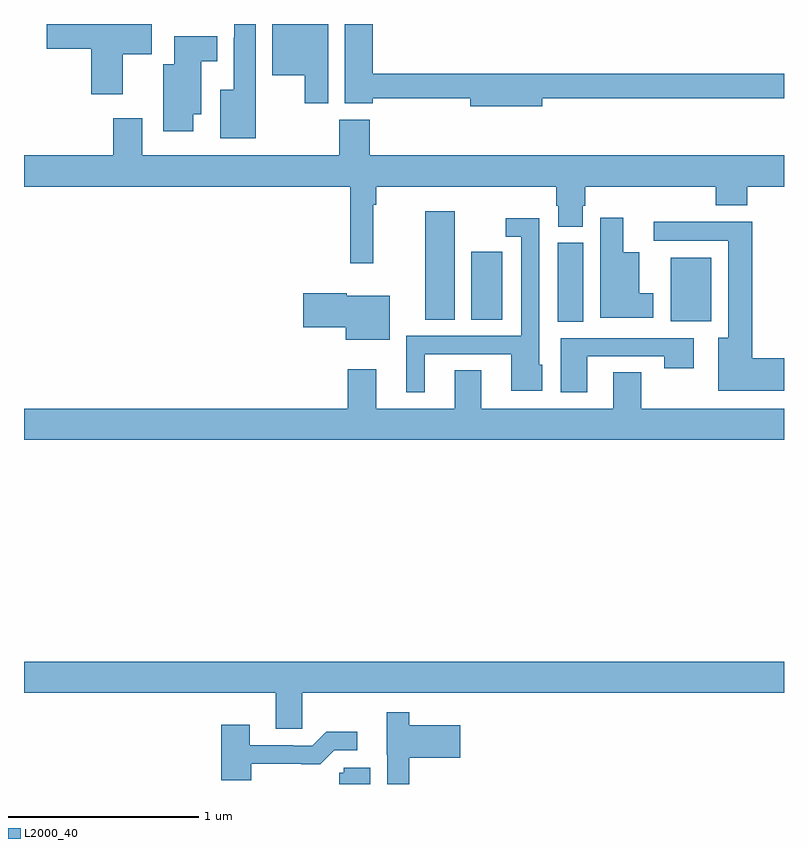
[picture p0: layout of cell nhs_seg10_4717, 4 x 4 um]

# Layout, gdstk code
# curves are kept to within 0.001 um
import gdstk
lib = gdstk.Library(unit=1e-6, precision=1e-09)
def R(c, l, rs):  # rectangles x0, y0, x1, y1
    for r in rs: c.add(gdstk.rectangle(r[:2], r[2:], *l))
def P(c, l, *ps):  # polygons
    for p in ps: c.add(gdstk.Polygon(p, *l))
L2000_40 = (2000, 40)

nhs_seg10_4717 = lib.new_cell('nhs_seg10_4717')
R(nhs_seg10_4717, L2000_40, [(383.81,1304.932,383.944,1305.348), (384.404,1304.936,384.616,1305.271), (383.111,1304.944,383.266,1305.514), (383.354,1304.944,383.518,1305.301)])
P(nhs_seg10_4717, L2000_40, [(382.219,1306.5),(382.107,1306.5),(382.107,1306.427),(382.103,1306.427),(382.103,1306.153),(382.034,1306.153),(382.034,1305.899),(382.219,1305.899)],
  [(382.6,1306.5),(382.307,1306.5),(382.307,1306.229),(382.478,1306.229),(382.478,1306.083),(382.6,1306.083)],
  [(383.728,1306.11),(385,1306.11),(385,1306.238),(382.835,1306.238),(382.835,1306.5),(382.688,1306.5),(382.688,1306.082),(382.835,1306.082),(382.835,1306.11),(383.348,1306.11),(383.348,1306.067),(383.728,1306.067)],
  [(381.52,1306.342),(381.673,1306.342),(381.673,1306.5),(381.12,1306.5),(381.12,1306.37),(381.353,1306.37),(381.353,1306.131),(381.52,1306.131)],
  [(381.892,1306.025),(381.934,1306.025),(381.934,1306.304),(382.018,1306.304),(382.018,1306.435),(381.791,1306.435),(381.791,1306.288),(381.734,1306.288),(381.734,1305.936),(381.892,1305.936)],
  [(382.82,1305.997),(382.66,1305.997),(382.66,1305.808),(381.622,1305.808),(381.622,1306.003),(381.47,1306.003),(381.47,1305.808),(381,1305.808),(381,1305.644),(382.717,1305.644),(382.717,1305.24),(382.838,1305.24),(382.838,1305.548),(382.853,1305.548),(382.853,1305.644),(383.801,1305.644),(383.801,1305.543),(383.813,1305.543),(383.813,1305.433),(383.941,1305.433),(383.941,1305.543),(383.954,1305.543),(383.954,1305.644),(384.641,1305.644),(384.641,1305.545),(384.806,1305.545),(384.806,1305.644),(385,1305.644),(385,1305.808),(382.82,1305.808)],
  [(384.313,1305.082),(384.238,1305.082),(384.238,1305.298),(384.154,1305.298),(384.154,1305.481),(384.032,1305.481),(384.032,1304.954),(384.313,1304.954)],
  [(383.11,1304.763),(383.564,1304.763),(383.564,1304.57),(383.728,1304.57),(383.728,1304.706),(383.712,1304.706),(383.712,1305.478),(383.535,1305.478),(383.535,1305.381),(383.616,1305.381),(383.616,1304.859),(383.012,1304.859),(383.012,1304.562),(383.11,1304.562)],
  [(385,1304.741),(384.833,1304.741),(384.833,1305.458),(384.315,1305.458),(384.315,1305.36),(384.707,1305.36),(384.707,1304.848),(384.653,1304.848),(384.653,1304.57),(385,1304.57)],
  [(382.924,1305.07),(382.698,1305.07),(382.698,1305.083),(382.47,1305.083),(382.47,1304.905),(382.694,1304.905),(382.694,1304.837),(382.924,1304.837)],
  [(383.965,1304.751),(384.37,1304.751),(384.37,1304.688),(384.526,1304.688),(384.526,1304.847),(383.825,1304.847),(383.825,1304.562),(383.965,1304.562)],
  [(385,1304.476),(384.249,1304.476),(384.249,1304.666),(384.101,1304.666),(384.101,1304.476),(383.407,1304.476),(383.407,1304.678),(383.267,1304.678),(383.267,1304.476),(382.855,1304.476),(382.855,1304.683),(382.703,1304.683),(382.703,1304.476),(381,1304.476),(381,1304.312),(385,1304.312)],
  [(382.464,1302.98),(385,1302.98),(385,1303.144),(381,1303.144),(381,1302.98),(382.325,1302.98),(382.325,1302.79),(382.464,1302.79)],
  [(383.027,1302.638),(383.296,1302.638),(383.296,1302.808),(383.027,1302.808),(383.027,1302.877),(382.91,1302.877),(382.91,1302.654),(382.911,1302.654),(382.911,1302.5),(383.027,1302.5)],
  [(382.197,1302.606),(382.559,1302.605),(382.632,1302.678),(382.753,1302.678),(382.753,1302.775),(382.591,1302.775),(382.518,1302.702),(382.418,1302.702),(382.418,1302.705),(382.189,1302.705),(382.189,1302.811),(382.037,1302.811),(382.037,1302.521),(382.197,1302.521)],
  [(382.822,1302.585),(382.683,1302.585),(382.683,1302.558),(382.658,1302.558),(382.658,1302.5),(382.822,1302.5)])

lib.write_gds('nhs_seg10_4717.gds')
